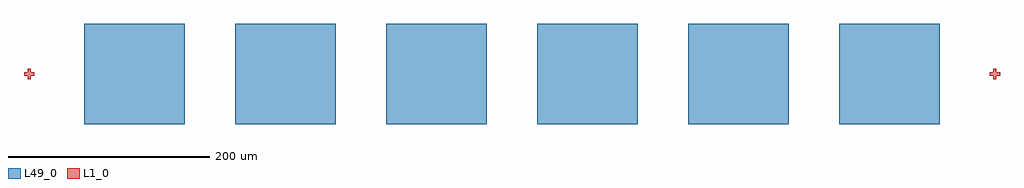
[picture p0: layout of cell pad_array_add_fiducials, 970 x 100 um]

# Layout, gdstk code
from math import pi, radians
import gdstk
lib = gdstk.Library(unit=1e-6, precision=1e-09)
def R(c, l, rs):  # rectangles x0, y0, x1, y1
    for r in rs: c.add(gdstk.rectangle(r[:2], r[2:], *l))
L1_0 = (1, 0)
L49_0 = (49, 0)

compass_642a0e00 = lib.new_cell('compass_642a0e00')
R(compass_642a0e00, L49_0, [(-50,-50,50,50)])

pad = lib.new_cell('pad')
pad.add(gdstk.Reference(compass_642a0e00, (0,0)))

pad_array = lib.new_cell('pad_array')
r = gdstk.Reference(pad, (0,0)); r.repetition = gdstk.Repetition(6, 1, v1=(150,0), v2=(0,150)); pad_array.add(r)

compass_92b42525 = lib.new_cell('compass_92b42525')
R(compass_92b42525, L1_0, [(-1.5,-5,1.5,5)])

rectangle_92b42525 = lib.new_cell('rectangle_92b42525')
rectangle_92b42525.add(gdstk.Reference(compass_92b42525, (1.5,5)))

cross = lib.new_cell('cross')
cross.add(gdstk.Reference(rectangle_92b42525, (5,-1.5), rotation=pi/2))
cross.add(gdstk.Reference(rectangle_92b42525, (-1.5,-5)))

pad_array_add_fiducials = lib.new_cell('pad_array_add_fiducials')
pad_array_add_fiducials.add(gdstk.Reference(pad_array, (0,0)))
pad_array_add_fiducials.add(gdstk.Reference(cross, (-105,0)))
pad_array_add_fiducials.add(gdstk.Reference(cross, (855,0)))

lib.write_gds('pad_array_add_fiducials.gds')
